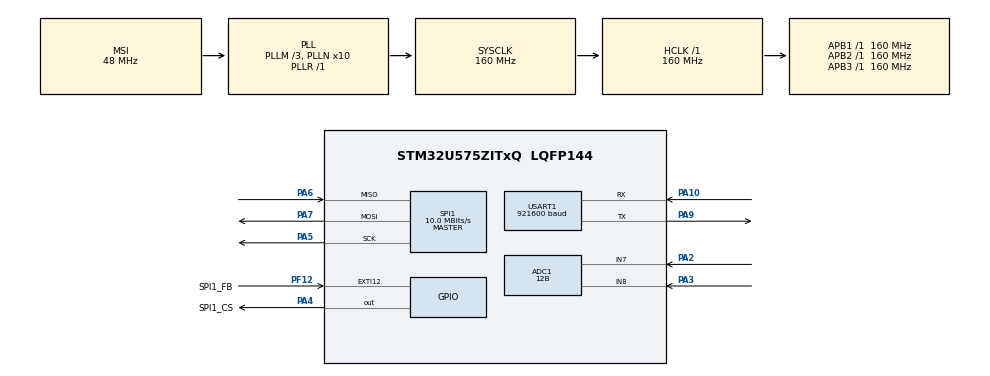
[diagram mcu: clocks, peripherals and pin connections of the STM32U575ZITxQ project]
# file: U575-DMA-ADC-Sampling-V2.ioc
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ADC1.Channel-0\#ChannelRegularConversion=ADC_CHANNEL_7
ADC1.ContinuousConvMode=ENABLE
ADC1.ConversionDataManagement=ADC_CONVERSIONDATA_DMA_ONESHOT
ADC1.EnableRegularConversion=ENABLE
ADC1.MonitoredBy-0\#ChannelRegularConversion=__NULL
ADC1.NbrOfConversion=1
ADC1.NbrOfConversionFlag=1
ADC1.OffsetNumber-0\#ChannelRegularConversion=ADC_OFFSET_NONE
ADC1.Rank-0\#ChannelRegularConversion=1
ADC1.Ratio1=16
ADC1.Resolution=ADC_RESOLUTION_12B
ADC1.SamplingTime-0\#ChannelRegularConversion=ADC_SAMPLETIME_5CYCLE
ADC1.SingleDiff-0\#ChannelRegularConversion=ADC_DIFFERENTIAL_ENDED
ADC1.master=1
CORTEX_M33_NS.userName=CORTEX_M33
GPDMA1.CIRCULARMODE_GPDMACH11=ENABLE
GPDMA1.CIRCULARMODE_GPDMACH7=ENABLE
GPDMA1.DESTDATAWIDTH_GPDMACH11=DMA_DEST_DATAWIDTH_HALFWORD
GPDMA1.DESTINC_GPDMACH11=DMA_DINC_INCREMENTED
GPDMA1.DESTINC_GPDMACH7=DMA_DINC_INCREMENTED
GPDMA1.DESTINC_GPDMACH9=DMA_DINC_INCREMENTED
GPDMA1.DIRECTION_GPDMACH10=DMA_MEMORY_TO_PERIPH
GPDMA1.DIRECTION_GPDMACH8=DMA_MEMORY_TO_PERIPH
GPDMA1.IPHANDLE_GPDMACH10-SIMPLEREQUEST_GPDMACH10=__NULL
GPDMA1.IPHANDLE_GPDMACH11-SIMPLEREQUEST_GPDMACH11=__NULL
GPDMA1.IPHANDLE_GPDMACH7-SIMPLEREQUEST_GPDMACH7=__NULL
GPDMA1.IPHANDLE_GPDMACH8-SIMPLEREQUEST_GPDMACH8=__NULL
GPDMA1.IPHANDLE_GPDMACH9-SIMPLEREQUEST_GPDMACH9=__NULL
GPDMA1.PRIORITY_GPDMACH10=DMA_HIGH_PRIORITY
GPDMA1.PRIORITY_GPDMACH8=DMA_HIGH_PRIORITY
GPDMA1.PRIORITY_GPDMACH9=DMA_HIGH_PRIORITY
GPDMA1.PRIORITY_LL_CIRCULAR_GPDMACH11=DMA_LOW_PRIORITY_HIGH_WEIGHT
GPDMA1.PRIORITY_LL_CIRCULAR_GPDMACH7=DMA_HIGH_PRIORITY
GPDMA1.REQUEST_GPDMACH10=GPDMA1_REQUEST_SPI1_TX
GPDMA1.REQUEST_GPDMACH11=GPDMA1_REQUEST_ADC1
GPDMA1.REQUEST_GPDMACH7=GPDMA1_REQUEST_USART1_RX
GPDMA1.REQUEST_GPDMACH8=GPDMA1_REQUEST_USART1_TX
GPDMA1.REQUEST_GPDMACH9=GPDMA1_REQUEST_SPI1_RX
GPDMA1.SRCDATAWIDTH_GPDMACH11=DMA_SRC_DATAWIDTH_HALFWORD
GPDMA1.SRCINC_GPDMACH10=DMA_SINC_INCREMENTED
GPDMA1.SRCINC_GPDMACH8=DMA_SINC_INCREMENTED
GPDMA1.TRANSFERALLOCATEDPORTDEST_GPDMACH11=DMA_DEST_ALLOCATED_PORT1
GPDMA1.TRANSFERALLOCATEDPORTDEST_GPDMACH7=DMA_DEST_ALLOCATED_PORT1
GPDMA1.TRANSFERALLOCATEDPORTDEST_GPDMACH9=DMA_DEST_ALLOCATED_PORT1
GPDMA1.TRANSFERALLOCATEDPORTSRC_GPDMACH10=DMA_SRC_ALLOCATED_PORT1
GPDMA1.TRANSFERALLOCATEDPORTSRC_GPDMACH8=DMA_SRC_ALLOCATED_PORT1
Mcu.Family=STM32U5
Mcu.Name=STM32U575ZITxQ
Mcu.Package=LQFP144
NVIC.EXTI12_IRQn=true\:0\:0\:false\:false\:true\:true\:true\:true
NVIC.GPDMA1_Channel10_IRQn=true\:0\:0\:false\:false\:true\:false\:true\:true
NVIC.GPDMA1_Channel11_IRQn=true\:0\:0\:false\:false\:true\:false\:true\:true
NVIC.GPDMA1_Channel7_IRQn=true\:0\:0\:false\:false\:true\:false\:true\:true
NVIC.GPDMA1_Channel8_IRQn=true\:0\:0\:false\:false\:true\:false\:true\:true
NVIC.GPDMA1_Channel9_IRQn=true\:0\:0\:false\:false\:true\:false\:true\:true
NVIC.PriorityGroup=NVIC_PRIORITYGROUP_4
NVIC.SPI1_IRQn=true\:0\:0\:false\:false\:true\:true\:true\:true
NVIC.USART1_IRQn=true\:0\:0\:false\:false\:true\:true\:true\:true
PA10.Mode=Asynchronous
PA10.Signal=USART1_RX
PA2.Mode=IN7-Differential
PA2.Signal=ADC1_IN7
PA3.Mode=IN7-Differential
PA3.Signal=ADC1_IN8
PA4.GPIO_Label=SPI1_CS
PA4.Signal=GPIO_Output
PA5.Mode=Full_Duplex_Master
PA5.Signal=SPI1_SCK
PA6.Mode=Full_Duplex_Master
PA6.Signal=SPI1_MISO
PA7.Mode=Full_Duplex_Master
PA7.Signal=SPI1_MOSI
PA9.Mode=Asynchronous
PA9.Signal=USART1_TX
PF12.GPIO_Label=SPI1_FB
PF12.Signal=GPXTI12
ProjectManager.HeapSize=0x200
ProjectManager.StackSize=0x400
ProjectManager.TargetToolchain=STM32CubeIDE
RCC.ADCCLockSelection=RCC_ADCDACCLKSOURCE_PLL2
RCC.ADCFreq_Value=20000000
RCC.AHBFreq_Value=160000000
RCC.APB1Freq_Value=160000000
RCC.APB1TimFreq_Value=160000000
RCC.APB2Freq_Value=160000000
RCC.APB2TimFreq_Value=160000000
RCC.APB3Freq_Value=160000000
RCC.CortexFreq_Value=160000000
RCC.EPOD_VALUE=48000000
RCC.HCLKFreq_Value=160000000
RCC.HSE_VALUE=16000000
RCC.HSI48_VALUE=48000000
RCC.HSI_VALUE=16000000
RCC.LSE_VALUE=32768
RCC.LSIDIV_VALUE=32000
RCC.MSIClockRange=RCC_MSIRANGE_0
RCC.MSI_VALUE=48000000
RCC.PLL1R=1
RCC.PLL2FRACN=0
RCC.PLL2M=3
RCC.PLL2N=10
RCC.PLL2R=8
RCC.PLL3FRACN=0
RCC.PLLFRACN=0
RCC.PLLM=3
RCC.PLLN=10
RCC.SYSCLKFreq_VALUE=160000000
RCC.SYSCLKSource=RCC_SYSCLKSOURCE_PLLCLK
RCC.USBFreq_Value=48000000
RCC.VCOOutputFreq_Value=160000000
SPI1.BaudRatePrescaler=SPI_BAUDRATEPRESCALER_16
SPI1.CalculateBaudRate=10.0 MBits/s
SPI1.DataSize=SPI_DATASIZE_8BIT
SPI1.Direction=SPI_DIRECTION_2LINES
SPI1.Mode=SPI_MODE_MASTER
SPI1.NSSPMode=SPI_NSS_PULSE_DISABLE
SPI1.VirtualType=VM_MASTER
USART1.BaudRate=921600
USART1.VirtualMode-Asynchronous=VM_ASYNC
VP_GPDMA1_VS_GPDMACH10.Mode=SIMPLEREQUEST_GPDMACH10
VP_GPDMA1_VS_GPDMACH11.Mode=SIMPLEREQUEST_GPDMACH11
VP_GPDMA1_VS_GPDMACH7.Mode=SIMPLEREQUEST_GPDMACH7
VP_GPDMA1_VS_GPDMACH8.Mode=SIMPLEREQUEST_GPDMACH8
VP_GPDMA1_VS_GPDMACH9.Mode=SIMPLEREQUEST_GPDMACH9
VP_ICACHE_VS_ENABLE_ICACHE_MEMORY.Mode=Memoryregions
VP_ICACHE_VS_ICACHE.Mode=DirectMappedCache
VP_LPBAMQUEUE_VS_QUEUE.Mode=QUEUEMODE
VP_LPBAM_VS_SIG1.Mode=SmartRun
VP_LPBAM_VS_SIG4.Mode=LPDMA1
VP_MEMORYMAP_VS_MEMORYMAP.Mode=CurAppReg
VP_PWR_VS_SECSignals.Mode=Security/Privilege
VP_PWR_Vdda.Mode=isolationVdda
board=custom

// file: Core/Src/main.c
/* USER CODE BEGIN Header */
/**
  ******************************************************************************
  * @file           : main.c
  * @brief          : Main program body
  ******************************************************************************
  * @attention
  *
  * Copyright (c) 2025 STMicroelectronics.
  * All rights reserved.
  *
  * This software is licensed under terms that can be found in the LICENSE file
  * in the root directory of this software component.
  * If no LICENSE file comes with this software, it is provided AS-IS.
  *
  ******************************************************************************
  */

/**
 * SPI GPIO
 *    SPI1 MOSI : PA7
 *    SPI1 MISO : PA6
 *    SPI1 SCK  : PA5
 *    SPI1 CS   : PA4 <- for ESP32 or Raspberry Pi 4B / 5
 *    SPI1 FB	: PF12 <- from ESP32 or Raspberry Pi 4B / 5
 *
 * ADC GPIO
 *    ADC1 VIN+ : PA2
 *    ADC1 VIN- : PA3
 *
 *
 *
 */

/* USER CODE END Header */
#include "main.h"

/* USER CODE BEGIN Includes */
#include "serial.h"
#include "processing.h"
/* USER CODE END Includes */

ADC_HandleTypeDef hadc1;
DMA_NodeTypeDef Node_GPDMA1_Channel11;
DMA_QListTypeDef List_GPDMA1_Channel11;
DMA_HandleTypeDef handle_GPDMA1_Channel11;

SPI_HandleTypeDef hspi1;
DMA_HandleTypeDef handle_GPDMA1_Channel10;
DMA_HandleTypeDef handle_GPDMA1_Channel9;

UART_HandleTypeDef huart1;
DMA_HandleTypeDef handle_GPDMA1_Channel8;
DMA_NodeTypeDef Node_GPDMA1_Channel7;
DMA_QListTypeDef List_GPDMA1_Channel7;
DMA_HandleTypeDef handle_GPDMA1_Channel7;

/* USER CODE BEGIN PV */
Processing_Handle_t hproc_user;
/* USER CODE END PV */

void SystemClock_Config(void);
static void MX_GPIO_Init(void);
static void MX_GPDMA1_Init(void);
static void MX_ADC1_Init(void);
static void MX_ICACHE_Init(void);
static void MX_SPI1_Init(void);
static void MX_USART1_UART_Init(void);

int main(void)
{

  /* MCU Configuration--------------------------------------------------------*/

  /* Reset of all peripherals, Initializes the Flash interface and the Systick. */
  HAL_Init();

  /* Configure the system clock */
  SystemClock_Config();

  /* Initialize all configured peripherals */
  MX_GPIO_Init();
  MX_GPDMA1_Init();
  MX_ADC1_Init();
  MX_ICACHE_Init();
  MX_SPI1_Init();
  MX_USART1_UART_Init();
  /* USER CODE BEGIN 2 */

  hproc_user.huart = &huart1;
  hproc_user.hadc = &hadc1;
  hproc_user.hspi = &hspi1;
  hproc_user.SPI_CS_GPIOx = SPI1_CS_GPIO_Port;
  hproc_user.SPI_CS_Pin = SPI1_CS_Pin;
  hproc_user.SPI_FB_GPIOx = SPI1_FB_GPIO_Port;
  hproc_user.SPI_FB_Pin = SPI1_FB_Pin;

  Processing_Init(&hproc_user);

  /* USER CODE END 2 */

  /* Infinite loop */
  while (1)
  {

  }
}

void SystemClock_Config(void)
{
  RCC_OscInitTypeDef RCC_OscInitStruct = {0};
  RCC_ClkInitTypeDef RCC_ClkInitStruct = {0};

  /** Configure the main internal regulator output voltage
  */
  if (HAL_PWREx_ControlVoltageScaling(PWR_REGULATOR_VOLTAGE_SCALE1) != HAL_OK)
  {
    Error_Handler();
  }

  /** Initializes the CPU, AHB and APB buses clocks
  */
  RCC_OscInitStruct.OscillatorType = RCC_OSCILLATORTYPE_MSI;
  RCC_OscInitStruct.MSIState = RCC_MSI_ON;
  RCC_OscInitStruct.MSICalibrationValue = RCC_MSICALIBRATION_DEFAULT;
  RCC_OscInitStruct.MSIClockRange = RCC_MSIRANGE_0;
  RCC_OscInitStruct.PLL.PLLState = RCC_PLL_ON;
  RCC_OscInitStruct.PLL.PLLSource = RCC_PLLSOURCE_MSI;
  RCC_OscInitStruct.PLL.PLLMBOOST = RCC_PLLMBOOST_DIV4;
  RCC_OscInitStruct.PLL.PLLM = 3;
  RCC_OscInitStruct.PLL.PLLN = 10;
  RCC_OscInitStruct.PLL.PLLP = 2;
  RCC_OscInitStruct.PLL.PLLQ = 2;
  RCC_OscInitStruct.PLL.PLLR = 1;
  RCC_OscInitStruct.PLL.PLLRGE = RCC_PLLVCIRANGE_1;
  RCC_OscInitStruct.PLL.PLLFRACN = 0;
  if (HAL_RCC_OscConfig(&RCC_OscInitStruct) != HAL_OK)
  {
    Error_Handler();
  }

  /** Initializes the CPU, AHB and APB buses clocks
  */
  RCC_ClkInitStruct.ClockType = RCC_CLOCKTYPE_HCLK|RCC_CLOCKTYPE_SYSCLK
                              |RCC_CLOCKTYPE_PCLK1|RCC_CLOCKTYPE_PCLK2
                              |RCC_CLOCKTYPE_PCLK3;
  RCC_ClkInitStruct.SYSCLKSource = RCC_SYSCLKSOURCE_PLLCLK;
  RCC_ClkInitStruct.AHBCLKDivider = RCC_SYSCLK_DIV1;
  RCC_ClkInitStruct.APB1CLKDivider = RCC_HCLK_DIV1;
  RCC_ClkInitStruct.APB2CLKDivider = RCC_HCLK_DIV1;
  RCC_ClkInitStruct.APB3CLKDivider = RCC_HCLK_DIV1;

  if (HAL_RCC_ClockConfig(&RCC_ClkInitStruct, FLASH_LATENCY_4) != HAL_OK)
  {
    Error_Handler();
  }
}

static void MX_ADC1_Init(void)
{

  ADC_ChannelConfTypeDef sConfig = {0};

  /** Common config
  */
  hadc1.Instance = ADC1;
  hadc1.Init.ClockPrescaler = ADC_CLOCK_ASYNC_DIV1;
  hadc1.Init.Resolution = ADC_RESOLUTION_12B;
  hadc1.Init.GainCompensation = 0;
  hadc1.Init.ScanConvMode = ADC_SCAN_DISABLE;
  hadc1.Init.EOCSelection = ADC_EOC_SINGLE_CONV;
  hadc1.Init.LowPowerAutoWait = DISABLE;
  hadc1.Init.ContinuousConvMode = ENABLE;
  hadc1.Init.NbrOfConversion = 1;
  hadc1.Init.DiscontinuousConvMode = DISABLE;
  hadc1.Init.ExternalTrigConv = ADC_SOFTWARE_START;
  hadc1.Init.ExternalTrigConvEdge = ADC_EXTERNALTRIGCONVEDGE_NONE;
  hadc1.Init.DMAContinuousRequests = DISABLE;
  hadc1.Init.TriggerFrequencyMode = ADC_TRIGGER_FREQ_HIGH;
  hadc1.Init.Overrun = ADC_OVR_DATA_PRESERVED;
  hadc1.Init.LeftBitShift = ADC_LEFTBITSHIFT_NONE;
  hadc1.Init.ConversionDataManagement = ADC_CONVERSIONDATA_DMA_ONESHOT;
  hadc1.Init.OversamplingMode = DISABLE;
  if (HAL_ADC_Init(&hadc1) != HAL_OK)
  {
    Error_Handler();
  }

  /** Configure Regular Channel
  */
  sConfig.Channel = ADC_CHANNEL_7;
  sConfig.Rank = ADC_REGULAR_RANK_1;
  sConfig.SamplingTime = ADC_SAMPLETIME_5CYCLE;
  sConfig.SingleDiff = ADC_DIFFERENTIAL_ENDED;
  sConfig.OffsetNumber = ADC_OFFSET_NONE;
  sConfig.Offset = 0;
  if (HAL_ADC_ConfigChannel(&hadc1, &sConfig) != HAL_OK)
  {
    Error_Handler();
  }

}

static void MX_GPDMA1_Init(void)
{

  /* Peripheral clock enable */
  __HAL_RCC_GPDMA1_CLK_ENABLE();

  /* GPDMA1 interrupt Init */
    HAL_NVIC_SetPriority(GPDMA1_Channel7_IRQn, 0, 0);
    HAL_NVIC_EnableIRQ(GPDMA1_Channel7_IRQn);
    HAL_NVIC_SetPriority(GPDMA1_Channel8_IRQn, 0, 0);
    HAL_NVIC_EnableIRQ(GPDMA1_Channel8_IRQn);
    HAL_NVIC_SetPriority(GPDMA1_Channel9_IRQn, 0, 0);
    HAL_NVIC_EnableIRQ(GPDMA1_Channel9_IRQn);
    HAL_NVIC_SetPriority(GPDMA1_Channel10_IRQn, 0, 0);
    HAL_NVIC_EnableIRQ(GPDMA1_Channel10_IRQn);
    HAL_NVIC_SetPriority(GPDMA1_Channel11_IRQn, 0, 0);
    HAL_NVIC_EnableIRQ(GPDMA1_Channel11_IRQn);

}

static void MX_ICACHE_Init(void)
{

  /** Enable instruction cache in 1-way (direct mapped cache)
  */
  if (HAL_ICACHE_ConfigAssociativityMode(ICACHE_1WAY) != HAL_OK)
  {
    Error_Handler();
  }
  if (HAL_ICACHE_Enable() != HAL_OK)
  {
    Error_Handler();
  }

}

static void MX_SPI1_Init(void)
{

  SPI_AutonomousModeConfTypeDef HAL_SPI_AutonomousMode_Cfg_Struct = {0};

  /* SPI1 parameter configuration*/
  hspi1.Instance = SPI1;
  hspi1.Init.Mode = SPI_MODE_MASTER;
  hspi1.Init.Direction = SPI_DIRECTION_2LINES;
  hspi1.Init.DataSize = SPI_DATASIZE_8BIT;
  hspi1.Init.CLKPolarity = SPI_POLARITY_LOW;
  hspi1.Init.CLKPhase = SPI_PHASE_1EDGE;
  hspi1.Init.NSS = SPI_NSS_SOFT;
  hspi1.Init.BaudRatePrescaler = SPI_BAUDRATEPRESCALER_16;
  hspi1.Init.FirstBit = SPI_FIRSTBIT_MSB;
  hspi1.Init.TIMode = SPI_TIMODE_DISABLE;
  hspi1.Init.CRCCalculation = SPI_CRCCALCULATION_DISABLE;
  hspi1.Init.CRCPolynomial = 0x7;
  hspi1.Init.NSSPMode = SPI_NSS_PULSE_DISABLE;
  hspi1.Init.NSSPolarity = SPI_NSS_POLARITY_LOW;
  hspi1.Init.FifoThreshold = SPI_FIFO_THRESHOLD_01DATA;
  hspi1.Init.MasterSSIdleness = SPI_MASTER_SS_IDLENESS_00CYCLE;
  hspi1.Init.MasterInterDataIdleness = SPI_MASTER_INTERDATA_IDLENESS_00CYCLE;
  hspi1.Init.MasterReceiverAutoSusp = SPI_MASTER_RX_AUTOSUSP_DISABLE;
  hspi1.Init.MasterKeepIOState = SPI_MASTER_KEEP_IO_STATE_DISABLE;
  hspi1.Init.IOSwap = SPI_IO_SWAP_DISABLE;
  hspi1.Init.ReadyMasterManagement = SPI_RDY_MASTER_MANAGEMENT_INTERNALLY;
  hspi1.Init.ReadyPolarity = SPI_RDY_POLARITY_HIGH;
  if (HAL_SPI_Init(&hspi1) != HAL_OK)
  {
    Error_Handler();
  }
  HAL_SPI_AutonomousMode_Cfg_Struct.TriggerState = SPI_AUTO_MODE_DISABLE;
  HAL_SPI_AutonomousMode_Cfg_Struct.TriggerSelection = SPI_GRP1_GPDMA_CH0_TCF_TRG;
  HAL_SPI_AutonomousMode_Cfg_Struct.TriggerPolarity = SPI_TRIG_POLARITY_RISING;
  if (HAL_SPIEx_SetConfigAutonomousMode(&hspi1, &HAL_SPI_AutonomousMode_Cfg_Struct) != HAL_OK)
  {
    Error_Handler();
  }

}

static void MX_USART1_UART_Init(void)
{

  huart1.Instance = USART1;
  huart1.Init.BaudRate = 921600;
  huart1.Init.WordLength = UART_WORDLENGTH_8B;
  huart1.Init.StopBits = UART_STOPBITS_1;
  huart1.Init.Parity = UART_PARITY_NONE;
  huart1.Init.Mode = UART_MODE_TX_RX;
  huart1.Init.HwFlowCtl = UART_HWCONTROL_NONE;
  huart1.Init.OverSampling = UART_OVERSAMPLING_16;
  huart1.Init.OneBitSampling = UART_ONE_BIT_SAMPLE_DISABLE;
  huart1.Init.ClockPrescaler = UART_PRESCALER_DIV1;
  huart1.AdvancedInit.AdvFeatureInit = UART_ADVFEATURE_NO_INIT;
  if (HAL_UART_Init(&huart1) != HAL_OK)
  {
    Error_Handler();
  }
  if (HAL_UARTEx_SetTxFifoThreshold(&huart1, UART_TXFIFO_THRESHOLD_1_8) != HAL_OK)
  {
    Error_Handler();
  }
  if (HAL_UARTEx_SetRxFifoThreshold(&huart1, UART_RXFIFO_THRESHOLD_1_8) != HAL_OK)
  {
    Error_Handler();
  }
  if (HAL_UARTEx_DisableFifoMode(&huart1) != HAL_OK)
  {
    Error_Handler();
  }

}

static void MX_GPIO_Init(void)
{
  GPIO_InitTypeDef GPIO_InitStruct = {0};

  /* GPIO Ports Clock Enable */
  __HAL_RCC_GPIOA_CLK_ENABLE();
  __HAL_RCC_GPIOF_CLK_ENABLE();

  /*Configure GPIO pin Output Level */
  HAL_GPIO_WritePin(SPI1_CS_GPIO_Port, SPI1_CS_Pin, GPIO_PIN_RESET);

  /*Configure GPIO pin : SPI1_CS_Pin */
  GPIO_InitStruct.Pin = SPI1_CS_Pin;
  GPIO_InitStruct.Mode = GPIO_MODE_OUTPUT_PP;
  GPIO_InitStruct.Pull = GPIO_NOPULL;
  GPIO_InitStruct.Speed = GPIO_SPEED_FREQ_LOW;
  HAL_GPIO_Init(SPI1_CS_GPIO_Port, &GPIO_InitStruct);

  /*Configure GPIO pin : SPI1_FB_Pin */
  GPIO_InitStruct.Pin = SPI1_FB_Pin;
  GPIO_InitStruct.Mode = GPIO_MODE_IT_RISING;
  GPIO_InitStruct.Pull = GPIO_NOPULL;
  HAL_GPIO_Init(SPI1_FB_GPIO_Port, &GPIO_InitStruct);

  /* EXTI interrupt init*/
  HAL_NVIC_SetPriority(EXTI12_IRQn, 0, 0);
  HAL_NVIC_EnableIRQ(EXTI12_IRQn);

}

/* USER CODE BEGIN 4 */

void HAL_ADC_ConvCpltCallback(ADC_HandleTypeDef* hadc)
{
  Processing_Callback_Handle_t callback_handle;
  callback_handle.hadc = hadc;
  if (Processing_ADC_ConvCpltCallback(&hproc_user, &callback_handle) == PROCESSING_OK)
  {
    // Nothing to do here, the callback is handled in Processing_ADC_ConvCpltCallback
  }
}

void HAL_UART_TxCpltCallback(UART_HandleTypeDef* huart)
{
  Processing_Callback_Handle_t callback_handle;
  callback_handle.huart = huart;
  if (Processing_TxCpltCallback(&hproc_user, &callback_handle) == PROCESSING_OK)
  {
    // Nothing to do here, the callback is handled in Processing_TxCpltCallback
  }
}

//volatile uint32_t fb_count = 0;
void HAL_UART_RxCpltCallback(UART_HandleTypeDef* huart)
{
  Processing_Callback_Handle_t callback_handle;
  callback_handle.huart = huart;
  if (Processing_FeedBack_Callback(&hproc_user, &callback_handle) == PROCESSING_OK)
  {
//    fb_count++;
    // Nothing to do here, the callback is handled in Processing_TxCpltCallback
  }
}

void HAL_SPI_TxRxCpltCallback(SPI_HandleTypeDef* hspi)
{
  Processing_Callback_Handle_t callback_handle;
  callback_handle.hspi = hspi;
  if (Processing_TxCpltCallback(&hproc_user, &callback_handle) == PROCESSING_OK)
  {
    // Nothing to do here, the callback is handled in Processing_TxCpltCallback
  }
}

void HAL_GPIO_EXTI_Rising_Callback(uint16_t GPIO_Pin)
{
  Processing_Callback_Handle_t callback_handle;
  callback_handle.SPI_FB_Pin = GPIO_Pin;
  if (Processing_FeedBack_Callback(&hproc_user, &callback_handle) == PROCESSING_OK)
  {
    // Nothing to do here, the callback is handled in Processing_FeedBack_Callback
  }
}

/* USER CODE END 4 */

void Error_Handler(void)
{
  __disable_irq();
  while (1)
  {
  }
}
